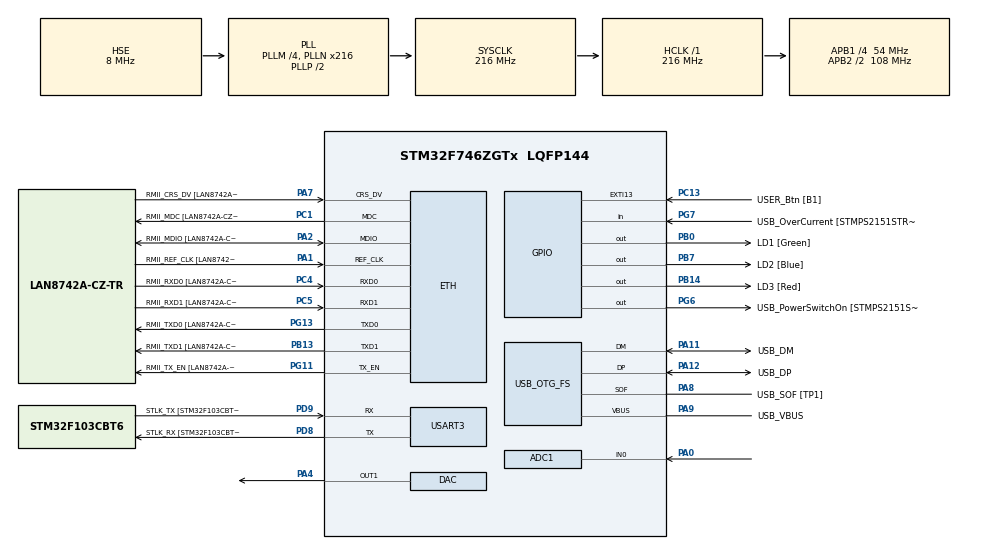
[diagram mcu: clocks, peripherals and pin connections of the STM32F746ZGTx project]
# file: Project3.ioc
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ADC1.Channel-0\#ChannelRegularConversion=ADC_CHANNEL_0
ADC1.NbrOfConversionFlag=1
ADC1.Rank-0\#ChannelRegularConversion=1
ADC1.SamplingTime-0\#ChannelRegularConversion=ADC_SAMPLETIME_3CYCLES
ADC1.master=1
ETH.MediaInterface=HAL_ETH_RMII_MODE
ETH.PHY_Name=LAN8742A_PHY_ADDRESS
ETH.PHY_Value=0
ETH.PhyAddress=0
Mcu.Family=STM32F7
Mcu.Name=STM32F746ZGTx
Mcu.Package=LQFP144
NVIC.PriorityGroup=NVIC_PRIORITYGROUP_4
PA0/WKUP.Signal=ADCx_IN0
PA1.GPIO_Label=RMII_REF_CLK [LAN8742A-CZ-TR_REFCLK0]
PA1.Mode=RMII
PA1.Signal=ETH_REF_CLK
PA10.GPIO_Label=USB_ID
PA10.Signal=USB_OTG_FS_ID
PA11.GPIO_Label=USB_DM
PA11.Mode=Device_Only
PA11.Signal=USB_OTG_FS_DM
PA12.GPIO_Label=USB_DP
PA12.Mode=Device_Only
PA12.Signal=USB_OTG_FS_DP
PA13.GPIO_Label=TMS
PA13.Mode=Serial_Wire
PA13.Signal=SYS_JTMS-SWDIO
PA14.GPIO_Label=TCK
PA14.Mode=Serial_Wire
PA14.Signal=SYS_JTCK-SWCLK
PA2.GPIO_Label=RMII_MDIO [LAN8742A-CZ-TR_MDIO]
PA2.Mode=RMII
PA2.Signal=ETH_MDIO
PA4.Signal=COMP_DAC1_group
PA7.GPIO_Label=RMII_CRS_DV [LAN8742A-CZ-TR_CRS_DV]
PA7.Mode=RMII
PA7.Signal=ETH_CRS_DV
PA8.GPIO_Label=USB_SOF [TP1]
PA8.Mode=Activate_SOF_FS
PA8.Signal=USB_OTG_FS_SOF
PA9.GPIO_Label=USB_VBUS
PA9.Mode=Activate_VBUS
PA9.Signal=USB_OTG_FS_VBUS
PB0.GPIO_Label=LD1 [Green]
PB0.Signal=GPIO_Output
PB13.GPIO_Label=RMII_TXD1 [LAN8742A-CZ-TR_TXD1]
PB13.Mode=RMII
PB13.Signal=ETH_TXD1
PB14.GPIO_Label=LD3 [Red]
PB14.Signal=GPIO_Output
PB3.GPIO_Label=SW0
PB3.Signal=SYS_JTDO-SWO
PB7.GPIO_Label=LD2 [Blue]
PB7.Signal=GPIO_Output
PC1.GPIO_Label=RMII_MDC [LAN8742A-CZ-TR_MDC]
PC1.Mode=RMII
PC1.Signal=ETH_MDC
PC13.GPIO_Label=USER_Btn [B1]
PC13.Signal=GPXTI13
PC14/OSC32_IN.Mode=LSE-External-Oscillator
PC14/OSC32_IN.Signal=RCC_OSC32_IN
PC15/OSC32_OUT.Mode=LSE-External-Oscillator
PC15/OSC32_OUT.Signal=RCC_OSC32_OUT
PC4.GPIO_Label=RMII_RXD0 [LAN8742A-CZ-TR_RXD0]
PC4.Mode=RMII
PC4.Signal=ETH_RXD0
PC5.GPIO_Label=RMII_RXD1 [LAN8742A-CZ-TR_RXD1]
PC5.Mode=RMII
PC5.Signal=ETH_RXD1
PD8.GPIO_Label=STLK_RX [STM32F103CBT6_PA3]
PD8.GPIO_PuPd=GPIO_PULLUP
PD8.Mode=Asynchronous
PD8.Signal=USART3_TX
PD9.GPIO_Label=STLK_TX [STM32F103CBT6_PA2]
PD9.GPIO_PuPd=GPIO_PULLUP
PD9.Mode=Asynchronous
PD9.Signal=USART3_RX
PG11.GPIO_Label=RMII_TX_EN [LAN8742A-CZ-TR_TXEN]
PG11.Mode=RMII
PG11.Signal=ETH_TX_EN
PG13.GPIO_Label=RMII_TXD0 [LAN8742A-CZ-TR_TXD0]
PG13.Mode=RMII
PG13.Signal=ETH_TXD0
PG6.GPIO_Label=USB_PowerSwitchOn [STMPS2151STR_EN]
PG6.Signal=GPIO_Output
PG7.GPIO_Label=USB_OverCurrent [STMPS2151STR_FAULT]
PG7.Signal=GPIO_Input
PH0/OSC_IN.GPIO_Label=MCO [STM32F103CBT6_PA8]
PH0/OSC_IN.Mode=HSE-External-Oscillator
PH0/OSC_IN.Signal=RCC_OSC_IN
PH1/OSC_OUT.Mode=HSE-External-Oscillator
PH1/OSC_OUT.Signal=RCC_OSC_OUT
ProjectManager.HeapSize=0x200
ProjectManager.StackSize=0x400
ProjectManager.TargetToolchain=STM32CubeIDE
RCC.48MHZClocksFreq_Value=24000000
RCC.AHBFreq_Value=216000000
RCC.APB1CLKDivider=RCC_HCLK_DIV4
RCC.APB1Freq_Value=54000000
RCC.APB1TimFreq_Value=108000000
RCC.APB2CLKDivider=RCC_HCLK_DIV2
RCC.APB2Freq_Value=108000000
RCC.APB2TimFreq_Value=216000000
RCC.CortexFreq_Value=216000000
RCC.HCLKFreq_Value=216000000
RCC.HSE_VALUE=8000000
RCC.HSI_VALUE=16000000
RCC.PLLM=4
RCC.PLLMUL=RCC_PLL_MUL9
RCC.PLLN=216
RCC.PLLQ=9
RCC.PRESCALERUSB=RCC_USBCLKSOURCE_PLL_DIV1_5
RCC.SYSCLKFreq_VALUE=216000000
RCC.SYSCLKSource=RCC_SYSCLKSOURCE_PLLCLK
RCC.SYSCLKSourceVirtual=RCC_SYSCLKSOURCE_PLLCLK
RCC.USBFreq_Value=48000000
RCC.VCOOutputFreq_Value=432000000
SH.ADCx_IN0.0=ADC1_IN0,IN0
SH.COMP_DAC1_group.0=DAC_OUT1,DAC_OUT1
USART3.VirtualMode-Asynchronous=VM_ASYNC
USB_OTG_FS.VirtualMode=Device_Only
board=NUCLEO-F746ZG

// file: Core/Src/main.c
/* USER CODE BEGIN Header */
/**
   ******************************************************************************
  * @file           : main.c
  * @brief          : Main program for STM32F7 (NUCLEO-F746ZG) board
  ******************************************************************************
  * This application does the following:
  *
  * 1. Clock Configuration:
  *    - Uses external 8 MHz HSE oscillator as PLL input.
  *    - PLL output is set to 216 MHz SYSCLK (core/system clock).
  *    - APB1 = 54 MHz, APB2 = 108 MHz. USB and RNG clocks are at 48 MHz.
  *    - OverDrive mode is enabled to support 216 MHz operation.
  *
  * 2. Peripherals Initialized:
  *    - GPIO: Controls LED indicators and user button.
  *    - USART3: For serial communication at 115200 baud (TX/RX).
  *    - DAC: Outputs an analog voltage corresponding to received UART data.
  *    - ADC1: Measures analog voltage on channel 0 and sends back over UART.

  * 3. Main Application Logic:
  *    - Waits for a 3-byte float string via UART (e.g., "1.2").
  *    - Converts it to voltage, scales it to DAC output value (12-bit).
  *    - Outputs to DAC channel 1.
  *    - Reads back the analog output using ADC and converts to float.
  *    - Sends the read voltage back via UART.
  *    - Toggles LEDs (Red = inactive, Blue = active indicator).
  *
  * Note:
  *    - Uses polling (not interrupt or DMA).
  *    - ADC reading is single conversion, not continuous.
  *    - Some averaging code is present but currently commented out.
  ******************************************************************************
  */
/* USER CODE END Header */
#include "main.h"
#include "string.h"

/* USER CODE BEGIN Includes */
#include <stdlib.h>
#include "stdbool.h"
#include "stdio.h"
/* USER CODE END Includes */

#if defined ( __ICCARM__ ) /*!< IAR Compiler */
#pragma location=0x2004c000
ETH_DMADescTypeDef  DMARxDscrTab[ETH_RX_DESC_CNT]; /* Ethernet Rx DMA Descriptors */
#pragma location=0x2004c0a0
ETH_DMADescTypeDef  DMATxDscrTab[ETH_TX_DESC_CNT]; /* Ethernet Tx DMA Descriptors */

#elif defined ( __CC_ARM )  /* MDK ARM Compiler */

__attribute__((at(0x2004c000))) ETH_DMADescTypeDef  DMARxDscrTab[ETH_RX_DESC_CNT]; /* Ethernet Rx DMA Descriptors */
__attribute__((at(0x2004c0a0))) ETH_DMADescTypeDef  DMATxDscrTab[ETH_TX_DESC_CNT]; /* Ethernet Tx DMA Descriptors */

#elif defined ( __GNUC__ ) /* GNU Compiler */

ETH_DMADescTypeDef DMARxDscrTab[ETH_RX_DESC_CNT] __attribute__((section(".RxDecripSection"))); /* Ethernet Rx DMA Descriptors */
ETH_DMADescTypeDef DMATxDscrTab[ETH_TX_DESC_CNT] __attribute__((section(".TxDecripSection")));   /* Ethernet Tx DMA Descriptors */
#endif

ETH_TxPacketConfig TxConfig;

ADC_HandleTypeDef hadc1;

DAC_HandleTypeDef hdac;

ETH_HandleTypeDef heth;

UART_HandleTypeDef huart3;

PCD_HandleTypeDef hpcd_USB_OTG_FS;

void SystemClock_Config(void);
static void MX_GPIO_Init(void);
static void MX_ETH_Init(void);
static void MX_USART3_UART_Init(void);
static void MX_USB_OTG_FS_PCD_Init(void);
static void MX_DAC_Init(void);
static void MX_ADC1_Init(void);

/* USER CODE BEGIN 0 */

float value;
float avg = 0;
uint32_t var;
char tx_buff[32];
uint8_t rx_buff[5];
/* USER CODE END 0 */

int main(void)
{

  /* MCU Configuration--------------------------------------------------------*/

  /* Reset of all peripherals, Initializes the Flash interface and the Systick. */
  HAL_Init();

  /* Configure the system clock */
  SystemClock_Config();

  /* Initialize all configured peripherals */
  MX_GPIO_Init();
  MX_ETH_Init();
  MX_USART3_UART_Init();
  MX_USB_OTG_FS_PCD_Init();
  MX_DAC_Init();
  MX_ADC1_Init();
  /* USER CODE BEGIN 2 */
HAL_DAC_Start(&hdac, DAC_CHANNEL_1);

 uint16_t readValue;
 float tot = 0;
 short i = 0;
 float tot_arr[1024];
 static bool buffer_full = false;

  /* USER CODE END 2 */

  /* Infinite loop */
  while (1)
  {

    /* USER CODE BEGIN 3 */

	  /*RECEIVE VOLTAGE*/
	  if(HAL_UART_Receive(&huart3, rx_buff, 3, 100) == HAL_OK){{

		  rx_buff[3] = '\0';  // Null-terminate string
		  value = atof((char*)rx_buff);  // "1.1" => 1.1
		  var = 4095.0f - (value / 3.3f) * 4095.0f;
		  HAL_GPIO_WritePin(GPIOB, GPIO_PIN_14, GPIO_PIN_RESET);//red OFF
		  HAL_GPIO_WritePin(GPIOB, GPIO_PIN_7, GPIO_PIN_SET); //blue ON
		  HAL_DAC_SetValue(&hdac, DAC_CHANNEL_1,DAC_ALIGN_12B_R,var);
	      HAL_Delay(20);}

	  /*Take VOLTAGE*/
	  	 	  HAL_ADC_Start(&hadc1);
	  	 	  HAL_ADC_PollForConversion(&hadc1, HAL_MAX_DELAY);

	  	 	  readValue = HAL_ADC_GetValue(&hadc1);
	  	 	  float voltage = (readValue * 3.30) / 4096.00;

	  	 	 /*if (buffer_full) {
	  	 	 	tot -= tot_arr[i];
	  	 	 	 }

	  	 	 tot_arr[i] = voltage;
	  	 	 tot += voltage;

	  	 	 i++;
	  	 	 if (i >= 1024) {
	  	 	 	 i = 0;
	  	 	 	 buffer_full = true;
	  	 	 }

	  	 	 avg = tot / (buffer_full ? 1024.00 : (float)i);*/

	  	 	 sprintf(tx_buff,"\n Voltage: %.3f V\r\n", voltage);
	  	 	 HAL_UART_Transmit(&huart3, (uint8_t*)tx_buff,strlen(tx_buff), HAL_MAX_DELAY);
	  	 	 HAL_Delay(200);
	  	 	 HAL_GPIO_WritePin(GPIOB, GPIO_PIN_14, GPIO_PIN_SET);//red ON
	  	 	 HAL_GPIO_WritePin(GPIOB, GPIO_PIN_7, GPIO_PIN_RESET); //blue OFF

	  }

	  }

  /* USER CODE END 3 */
}

void SystemClock_Config(void)
{
  RCC_OscInitTypeDef RCC_OscInitStruct = {0};
  RCC_ClkInitTypeDef RCC_ClkInitStruct = {0};

  /** Configure LSE Drive Capability
  */
  HAL_PWR_EnableBkUpAccess();

  /** Configure the main internal regulator output voltage
  */
  __HAL_RCC_PWR_CLK_ENABLE();
  __HAL_PWR_VOLTAGESCALING_CONFIG(PWR_REGULATOR_VOLTAGE_SCALE1);

  /** Initializes the RCC Oscillators according to the specified parameters
  * in the RCC_OscInitTypeDef structure.
  */
  RCC_OscInitStruct.OscillatorType = RCC_OSCILLATORTYPE_HSE;
  RCC_OscInitStruct.HSEState = RCC_HSE_ON;
  RCC_OscInitStruct.PLL.PLLState = RCC_PLL_ON;
  RCC_OscInitStruct.PLL.PLLSource = RCC_PLLSOURCE_HSE;
  RCC_OscInitStruct.PLL.PLLM = 4;
  RCC_OscInitStruct.PLL.PLLN = 216;
  RCC_OscInitStruct.PLL.PLLP = RCC_PLLP_DIV2;
  RCC_OscInitStruct.PLL.PLLQ = 9;
  if (HAL_RCC_OscConfig(&RCC_OscInitStruct) != HAL_OK)
  {
    Error_Handler();
  }

  /** Activate the Over-Drive mode
  */
  if (HAL_PWREx_EnableOverDrive() != HAL_OK)
  {
    Error_Handler();
  }

  /** Initializes the CPU, AHB and APB buses clocks
  */
  RCC_ClkInitStruct.ClockType = RCC_CLOCKTYPE_HCLK|RCC_CLOCKTYPE_SYSCLK
                              |RCC_CLOCKTYPE_PCLK1|RCC_CLOCKTYPE_PCLK2;
  RCC_ClkInitStruct.SYSCLKSource = RCC_SYSCLKSOURCE_PLLCLK;
  RCC_ClkInitStruct.AHBCLKDivider = RCC_SYSCLK_DIV1;
  RCC_ClkInitStruct.APB1CLKDivider = RCC_HCLK_DIV4;
  RCC_ClkInitStruct.APB2CLKDivider = RCC_HCLK_DIV2;

  if (HAL_RCC_ClockConfig(&RCC_ClkInitStruct, FLASH_LATENCY_7) != HAL_OK)
  {
    Error_Handler();
  }
}

static void MX_ADC1_Init(void)
{

  ADC_ChannelConfTypeDef sConfig = {0};

  /** Configure the global features of the ADC (Clock, Resolution, Data Alignment and number of conversion)
  */
  hadc1.Instance = ADC1;
  hadc1.Init.ClockPrescaler = ADC_CLOCK_SYNC_PCLK_DIV4;
  hadc1.Init.Resolution = ADC_RESOLUTION_12B;
  hadc1.Init.ScanConvMode = ADC_SCAN_DISABLE;
  hadc1.Init.ContinuousConvMode = DISABLE;
  hadc1.Init.DiscontinuousConvMode = DISABLE;
  hadc1.Init.ExternalTrigConvEdge = ADC_EXTERNALTRIGCONVEDGE_NONE;
  hadc1.Init.ExternalTrigConv = ADC_SOFTWARE_START;
  hadc1.Init.DataAlign = ADC_DATAALIGN_RIGHT;
  hadc1.Init.NbrOfConversion = 1;
  hadc1.Init.DMAContinuousRequests = DISABLE;
  hadc1.Init.EOCSelection = ADC_EOC_SINGLE_CONV;
  if (HAL_ADC_Init(&hadc1) != HAL_OK)
  {
    Error_Handler();
  }

  /** Configure for the selected ADC regular channel its corresponding rank in the sequencer and its sample time.
  */
  sConfig.Channel = ADC_CHANNEL_0;
  sConfig.Rank = ADC_REGULAR_RANK_1;
  sConfig.SamplingTime = ADC_SAMPLETIME_3CYCLES;
  if (HAL_ADC_ConfigChannel(&hadc1, &sConfig) != HAL_OK)
  {
    Error_Handler();
  }

}

static void MX_DAC_Init(void)
{

  DAC_ChannelConfTypeDef sConfig = {0};

  /** DAC Initialization
  */
  hdac.Instance = DAC;
  if (HAL_DAC_Init(&hdac) != HAL_OK)
  {
    Error_Handler();
  }

  /** DAC channel OUT1 config
  */
  sConfig.DAC_Trigger = DAC_TRIGGER_NONE;
  sConfig.DAC_OutputBuffer = DAC_OUTPUTBUFFER_ENABLE;
  if (HAL_DAC_ConfigChannel(&hdac, &sConfig, DAC_CHANNEL_1) != HAL_OK)
  {
    Error_Handler();
  }

}

static void MX_ETH_Init(void)
{

   static uint8_t MACAddr[6];

  heth.Instance = ETH;
  MACAddr[0] = 0x00;
  MACAddr[1] = 0x80;
  MACAddr[2] = 0xE1;
  MACAddr[3] = 0x00;
  MACAddr[4] = 0x00;
  MACAddr[5] = 0x00;
  heth.Init.MACAddr = &MACAddr[0];
  heth.Init.MediaInterface = HAL_ETH_RMII_MODE;
  heth.Init.TxDesc = DMATxDscrTab;
  heth.Init.RxDesc = DMARxDscrTab;
  heth.Init.RxBuffLen = 1524;

  if (HAL_ETH_Init(&heth) != HAL_OK)
  {
    Error_Handler();
  }

  memset(&TxConfig, 0 , sizeof(ETH_TxPacketConfig));
  TxConfig.Attributes = ETH_TX_PACKETS_FEATURES_CSUM | ETH_TX_PACKETS_FEATURES_CRCPAD;
  TxConfig.ChecksumCtrl = ETH_CHECKSUM_IPHDR_PAYLOAD_INSERT_PHDR_CALC;
  TxConfig.CRCPadCtrl = ETH_CRC_PAD_INSERT;

}

static void MX_USART3_UART_Init(void)
{

  huart3.Instance = USART3;
  huart3.Init.BaudRate = 115200;
  huart3.Init.WordLength = UART_WORDLENGTH_8B;
  huart3.Init.StopBits = UART_STOPBITS_1;
  huart3.Init.Parity = UART_PARITY_NONE;
  huart3.Init.Mode = UART_MODE_TX_RX;
  huart3.Init.HwFlowCtl = UART_HWCONTROL_NONE;
  huart3.Init.OverSampling = UART_OVERSAMPLING_16;
  huart3.Init.OneBitSampling = UART_ONE_BIT_SAMPLE_DISABLE;
  huart3.AdvancedInit.AdvFeatureInit = UART_ADVFEATURE_NO_INIT;
  if (HAL_UART_Init(&huart3) != HAL_OK)
  {
    Error_Handler();
  }

}

static void MX_USB_OTG_FS_PCD_Init(void)
{

  hpcd_USB_OTG_FS.Instance = USB_OTG_FS;
  hpcd_USB_OTG_FS.Init.dev_endpoints = 6;
  hpcd_USB_OTG_FS.Init.speed = PCD_SPEED_FULL;
  hpcd_USB_OTG_FS.Init.dma_enable = DISABLE;
  hpcd_USB_OTG_FS.Init.phy_itface = PCD_PHY_EMBEDDED;
  hpcd_USB_OTG_FS.Init.Sof_enable = ENABLE;
  hpcd_USB_OTG_FS.Init.low_power_enable = DISABLE;
  hpcd_USB_OTG_FS.Init.lpm_enable = DISABLE;
  hpcd_USB_OTG_FS.Init.vbus_sensing_enable = ENABLE;
  hpcd_USB_OTG_FS.Init.use_dedicated_ep1 = DISABLE;
  if (HAL_PCD_Init(&hpcd_USB_OTG_FS) != HAL_OK)
  {
    Error_Handler();
  }

}

static void MX_GPIO_Init(void)
{
  GPIO_InitTypeDef GPIO_InitStruct = {0};

  /* GPIO Ports Clock Enable */
  __HAL_RCC_GPIOC_CLK_ENABLE();
  __HAL_RCC_GPIOH_CLK_ENABLE();
  __HAL_RCC_GPIOA_CLK_ENABLE();
  __HAL_RCC_GPIOB_CLK_ENABLE();
  __HAL_RCC_GPIOD_CLK_ENABLE();
  __HAL_RCC_GPIOG_CLK_ENABLE();

  /*Configure GPIO pin Output Level */
  HAL_GPIO_WritePin(GPIOB, LD1_Pin|LD3_Pin|LD2_Pin, GPIO_PIN_RESET);

  /*Configure GPIO pin Output Level */
  HAL_GPIO_WritePin(USB_PowerSwitchOn_GPIO_Port, USB_PowerSwitchOn_Pin, GPIO_PIN_RESET);

  /*Configure GPIO pin : USER_Btn_Pin */
  GPIO_InitStruct.Pin = USER_Btn_Pin;
  GPIO_InitStruct.Mode = GPIO_MODE_IT_RISING;
  GPIO_InitStruct.Pull = GPIO_NOPULL;
  HAL_GPIO_Init(USER_Btn_GPIO_Port, &GPIO_InitStruct);

  /*Configure GPIO pins : LD1_Pin LD3_Pin LD2_Pin */
  GPIO_InitStruct.Pin = LD1_Pin|LD3_Pin|LD2_Pin;
  GPIO_InitStruct.Mode = GPIO_MODE_OUTPUT_PP;
  GPIO_InitStruct.Pull = GPIO_NOPULL;
  GPIO_InitStruct.Speed = GPIO_SPEED_FREQ_LOW;
  HAL_GPIO_Init(GPIOB, &GPIO_InitStruct);

  /*Configure GPIO pin : USB_PowerSwitchOn_Pin */
  GPIO_InitStruct.Pin = USB_PowerSwitchOn_Pin;
  GPIO_InitStruct.Mode = GPIO_MODE_OUTPUT_PP;
  GPIO_InitStruct.Pull = GPIO_NOPULL;
  GPIO_InitStruct.Speed = GPIO_SPEED_FREQ_LOW;
  HAL_GPIO_Init(USB_PowerSwitchOn_GPIO_Port, &GPIO_InitStruct);

  /*Configure GPIO pin : USB_OverCurrent_Pin */
  GPIO_InitStruct.Pin = USB_OverCurrent_Pin;
  GPIO_InitStruct.Mode = GPIO_MODE_INPUT;
  GPIO_InitStruct.Pull = GPIO_NOPULL;
  HAL_GPIO_Init(USB_OverCurrent_GPIO_Port, &GPIO_InitStruct);

}

void Error_Handler(void)
{
  __disable_irq();
  while (1)
  {
  }
}
